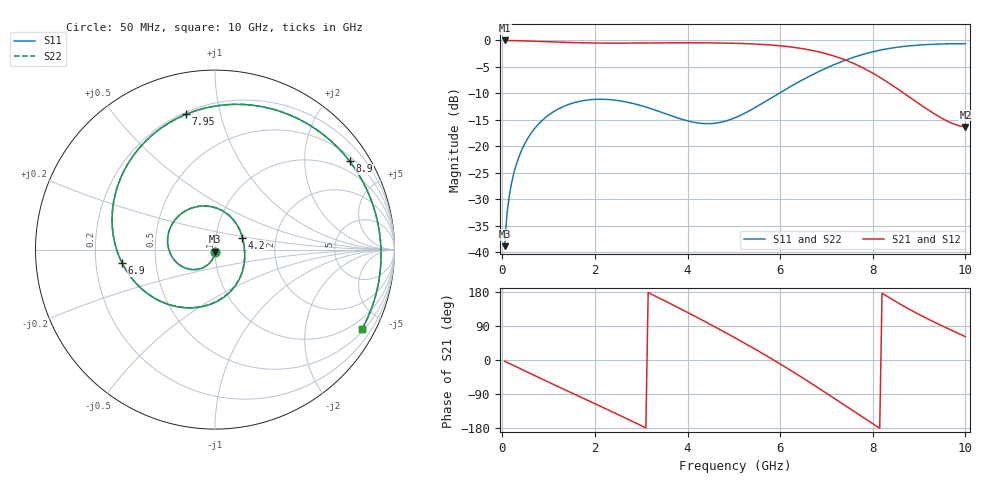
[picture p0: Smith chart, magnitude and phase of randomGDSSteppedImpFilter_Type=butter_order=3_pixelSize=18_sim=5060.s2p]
! freq	dB(S11)	phase(S11)	dB(S12)	phase(S12)
!  dB(S21)	phase(S21)	dB(S22)	phase(S22)
!S-par simulation data
#  GHz  S  DB  R 50
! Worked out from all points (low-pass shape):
!   200 points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, 50 MHz to 10 GHz, reference 50 ohm
!   highest |S21| = -0.01 dB at 50 MHz (marker M1); lowest = -16.3 dB at 10 GHz (marker M2)
!   |S21| within 3 dB of the highest: start of sweep to 7.183 GHz
!   lowest |S11| = -38.9 dB at 50 MHz (marker M3), VSWR 1.02, Z = 49.9 - j1.13 ohm
!   |S11| at or under -10 dB: start of sweep to 5.974 GHz
!   |S22| runs from -38.9 to -0.6 dB; largest |S21 - S12| = 0
!   S11 on the Smith chart (normalised r, x): 50 MHz: 1.00, -0.02; 4.2 GHz: 1.34, +0.19; 6.9 GHz: 0.31, -0.06; 7.95 GHz: 0.21, +0.79; 8.9 GHz: 0.64, +3.24; 10 GHz: 0.58, -3.85
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0.05  -38.90 -92.5  -0.01 -3.0  -0.01 -3.0  -38.90 -92.5
0.1  -32.90 -95.6  -0.01 -6.0  -0.01 -6.0  -32.90 -95.7
0.2  -26.96 -101.7  -0.03 -11.9  -0.03 -11.9  -26.96 -101.7
0.5  -19.29 -119.9  -0.09 -29.5  -0.09 -29.5  -19.29 -120.0
1.15  -13.25 -157.6  -0.29 -67.1  -0.29 -67.1  -13.25 -157.7
1.75  -11.38 168.3  -0.45 -101.1  -0.45 -101.1  -11.38 168.1
2.65  -11.59 117.1  -0.51 -152.6  -0.51 -152.6  -11.59 116.6
3.4  -13.47 73.0  -0.45 162.7  -0.45 162.7  -13.48 72.1
4.2  -15.58 23.7  -0.44 112.8  -0.44 112.8  -15.58 22.2
4.65  -15.59 -5.3  -0.48 83.6  -0.48 83.6  -15.59 -6.9
5.05  -14.53 -32.2  -0.55 56.9  -0.55 56.9  -14.53 -33.7
5.45  -12.74 -60.3  -0.67 29.3  -0.67 29.3  -12.74 -61.4
5.85  -10.65 -89.5  -0.90 0.6  -0.90 0.6  -10.65 -90.4
6.25  -8.59 -119.9  -1.26 -29.1  -1.26 -29.1  -8.58 -120.6
6.7  -6.47 -155.6  -1.90 -63.9  -1.90 -63.9  -6.46 -156.0
6.9  -5.62 -171.8  -2.30 -79.7  -2.30 -79.7  -5.61 -172.1
7.4  -3.77 146.9  -3.68 -120.0  -3.68 -120.0  -3.77 146.8
7.95  -2.26 102.1  -5.94 -164.3  -5.94 -164.3  -2.26 102.0
8.35  -1.52 71.3  -8.07 165.0  -8.07 165.0  -1.52 71.3
8.9  -0.94 33.2  -11.37 126.6  -11.37 126.6  -0.94 33.3
9.4  -0.70 3.2  -14.25 95.7  -14.25 95.7  -0.70 3.3
10  -0.62 -28.5  -16.34 61.6  -16.34 61.6  -0.62 -28.4
